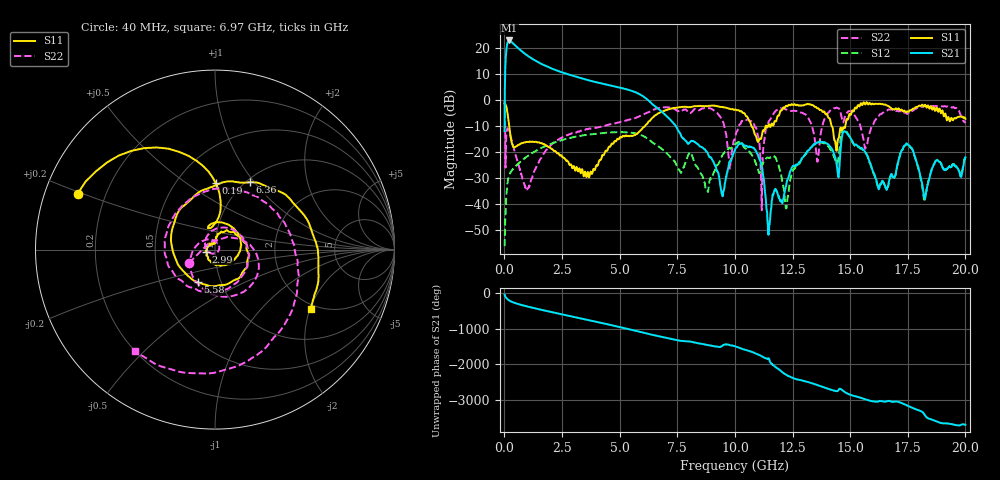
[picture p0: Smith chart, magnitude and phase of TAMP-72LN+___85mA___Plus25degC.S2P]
! Mini-Circuits
! S2P DATA File Format
! Unit Family Type: Amplifier
! MCL Part No: TAMP-72LN+
! Note: All S Parameters are in dB deg format
! The Unit was tested at +25 °C
# MHz S DB R 50
!  FREQ  dB(S11)  PHS(S11)  dB(S21)  PHS(S21)  dB(S12)  PHS(S12)  dB(S22)  PHS(S22)
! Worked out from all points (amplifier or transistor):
!   1601 points, 10 MHz to 20 GHz, reference 50 ohm
!   highest |S21| = 22.7 dB at 210 MHz (marker M1)
!   |S21| within 3 dB of that: 95.27 MHz to 603.7 MHz (508.5 MHz wide, 145 % of centre)
!   unconditionally stable (mu >= 1): start of sweep to end of sweep
!   at 2.67 GHz: K = 1.11, MAG = 10.5 dB, |S12| = -15.0 dB
!   at 8.01 GHz: K = 11.58, MAG = -11.7 dB, |S12| = -20.5 dB
!   at 20 GHz: K = 55.99, MAG = -20.6 dB, |S12| = -21.9 dB
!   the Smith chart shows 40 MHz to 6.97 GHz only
!   S11 on the Smith chart (normalised r, x): 40 MHz: 0.10, +0.19; 190 MHz: 0.77, +0.66; 2.99 GHz: 0.90, -0.02; 5.58 GHz: 0.78, -0.30; 6.36 GHz: 1.04, +0.95; 6.97 GHz: 1.87, -2.01
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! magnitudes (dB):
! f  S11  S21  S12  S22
! 10 MHz  -1.4  -12.0  -56.1  -0.2
! 40 MHz  -1.7  12.4  -45.5  -15.7
! 190 MHz  -8.7  22.7  -29.4  -11.6
! 210 MHz  -10.1  22.7  -28.9  -12.1
! 990 MHz  -16.1  17.0  -21.7  -34.3
! 2.99 GHz  -25.7  9.2  -14.3  -12.8
! 3.35 GHz  -26.9  8.2  -13.7  -11.9
! 5.58 GHz  -13.7  3.3  -12.7  -7.2
! 6.36 GHz  -7.5  -1.2  -15.9  -4.3
! 6.68 GHz  -5.2  -3.5  -17.8  -3.2
! 6.97 GHz  -4.1  -5.7  -19.9  -2.9
! 8.79 GHz  -2.5  -20.0  -34.5  -3.2
! 9.46 GHz  -2.8  -36.9  -21.2  -7.7
! 10.01 GHz  -3.7  -19.0  -16.9  -14.4
! 10.97 GHz  -15.6  -20.7  -26.1  -12.6
! 11.17 GHz  -13.6  -25.7  -25.4  -42.3
! 11.47 GHz  -9.3  -50.9  -22.2  -8.3
! 12.24 GHz  -2.3  -31.9  -41.6  -3.7
! 13.34 GHz  -2.0  -17.9  -18.0  -10.0
! 14.42 GHz  -19.5  -25.0  -24.3  -3.0
! 16.68 GHz  -2.5  -31.4  -31.4  -3.7
! 20 GHz  -7.3  -22.0  -21.9  -8.9
